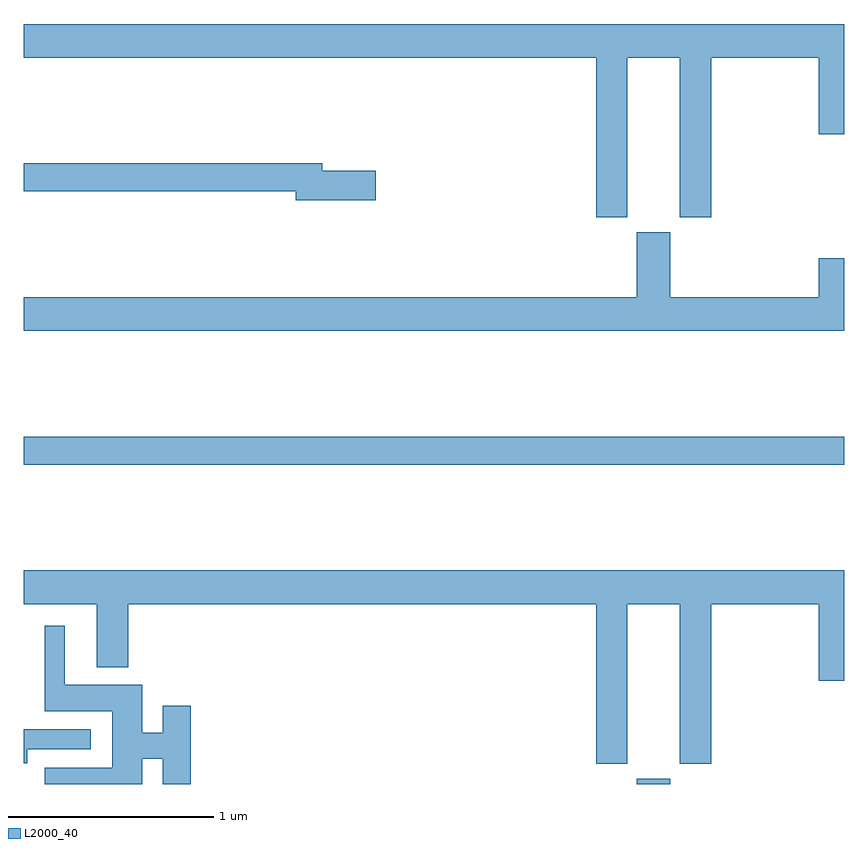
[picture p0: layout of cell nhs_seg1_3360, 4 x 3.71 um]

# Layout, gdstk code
import gdstk
lib = gdstk.Library(unit=1e-6, precision=1e-09)
def R(c, l, rs):  # rectangles x0, y0, x1, y1
    for r in rs: c.add(gdstk.rectangle(r[:2], r[2:], *l))
def P(c, l, *ps):  # polygons
    for p in ps: c.add(gdstk.Polygon(p, *l))
L2000_40 = (2000, 40)

nhs_seg1_3360 = lib.new_cell('nhs_seg1_3360')
R(nhs_seg1_3360, L2000_40, [(295.988,540.199,296.152,540.225), (293,541.756,297,541.892)])
P(nhs_seg1_3360, L2000_40, [(295.942,543.74),(296.198,543.74),(296.198,542.961),(296.351,542.961),(296.351,543.74),(296.876,543.74),(296.876,543.366),(297,543.366),(297,543.904),(293,543.904),(293,543.74),(295.79,543.74),(295.79,542.961),(295.942,542.961)],
  [(294.715,543.188),(294.454,543.188),(294.454,543.224),(293,543.224),(293,543.088),(294.326,543.088),(294.326,543.046),(294.715,543.046)],
  [(297,542.761),(296.876,542.761),(296.876,542.572),(296.152,542.572),(296.152,542.889),(295.988,542.889),(295.988,542.572),(293,542.572),(293,542.408),(297,542.408)],
  [(295.942,541.076),(296.198,541.076),(296.198,540.297),(296.351,540.297),(296.351,541.076),(296.876,541.076),(296.876,540.702),(297,540.702),(297,541.24),(293,541.24),(293,541.076),(293.357,541.076),(293.357,540.767),(293.51,540.767),(293.51,541.076),(295.79,541.076),(295.79,540.297),(295.942,540.297)],
  [(293.578,540.321),(293.678,540.321),(293.678,540.199),(293.813,540.199),(293.813,540.58),(293.678,540.58),(293.678,540.449),(293.578,540.449),(293.578,540.682),(293.2,540.682),(293.2,540.97),(293.102,540.97),(293.102,540.554),(293.432,540.554),(293.432,540.279),(293.102,540.279),(293.102,540.199),(293.578,540.199)],
  [(293.017,540.369),(293.326,540.369),(293.326,540.465),(293.013,540.465),(293.013,540.466),(293,540.466),(293,540.301),(293.017,540.301)])

lib.write_gds('nhs_seg1_3360.gds')
